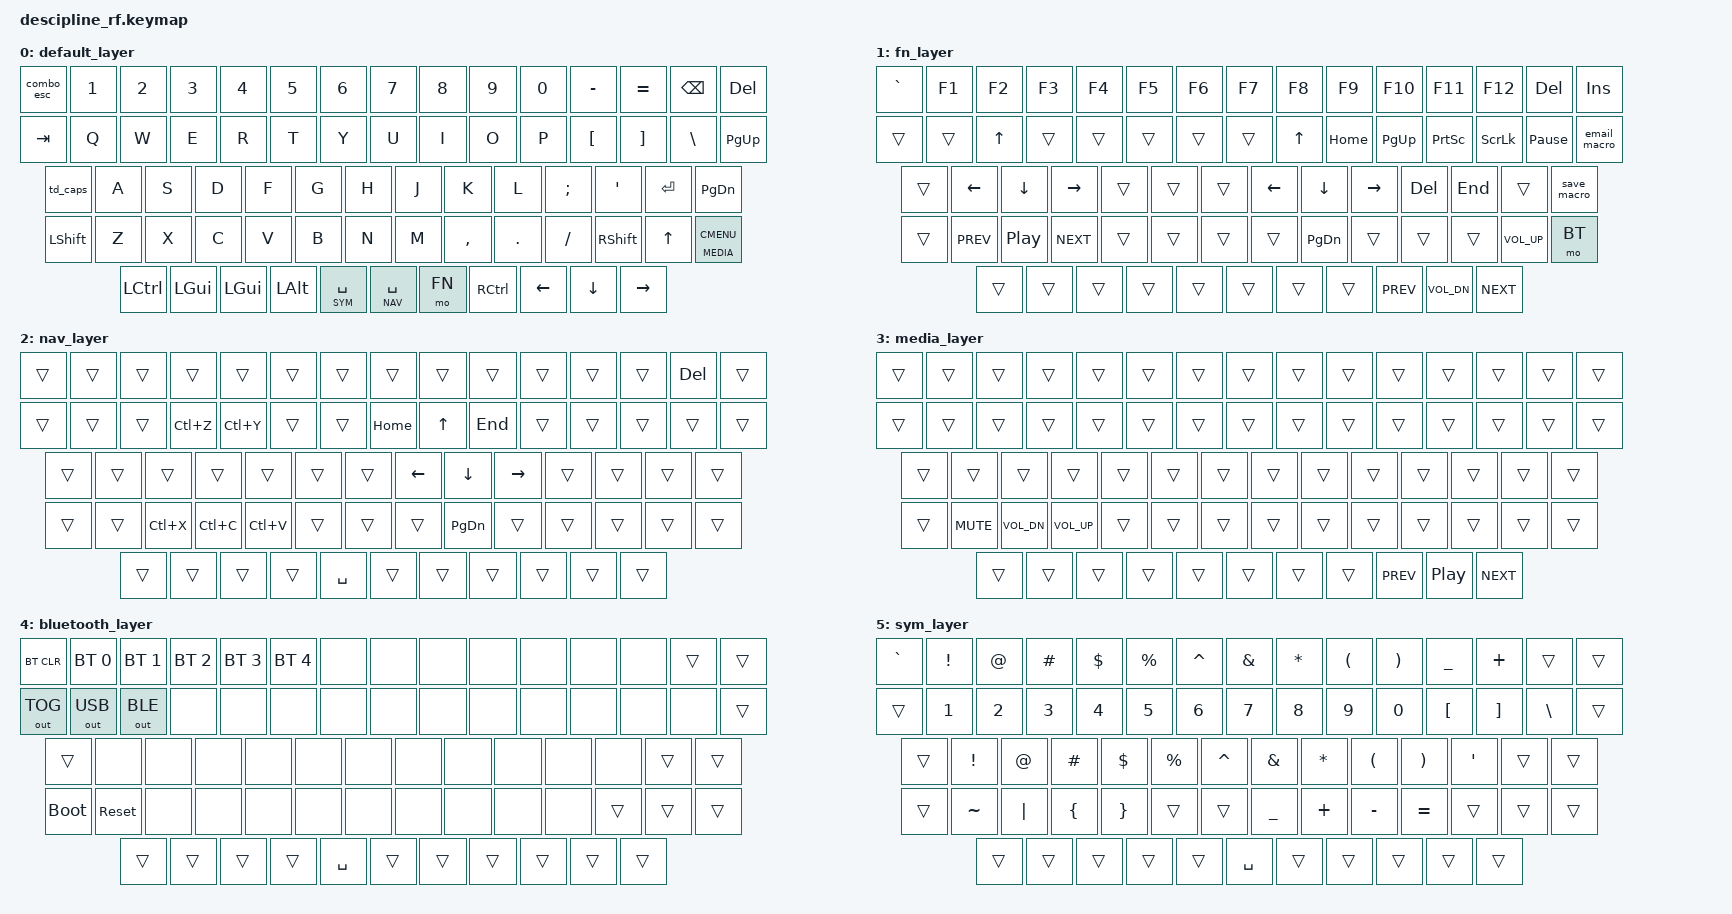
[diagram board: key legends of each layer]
/*
 * Copyright (c) 2021 The ZMK Contributors
 *
 * SPDX-License-Identifier: MIT
 */
#include <behaviors.dtsi>
#include <dt-bindings/zmk/keys.h>
#include <dt-bindings/zmk/bt.h>
#include <dt-bindings/zmk/outputs.h>

// Layer definitions
#define DEFAULT 0
#define FN      1
#define NAV     2
#define MEDIA   3
#define BT      4
#define SYM     5

/ {
    behaviors {
        // Layer-tap for thumb keys with space
        lt_spc: layer_tap_space {
            compatible = "zmk,behavior-hold-tap";
            label = "LAYER_TAP_SPACE";
            #binding-cells = <2>;
            tapping-term-ms = <175>;
            quick-tap-ms = <125>;
            flavor = "balanced";
            bindings = <&mo>, <&kp>;
        };

        // Legacy behavior for compatibility
        lt_mod: layer_tap_with_modifier {
            compatible = "zmk,behavior-hold-tap";
            label = "LAYER_TAP_MOD";
            #binding-cells = <2>;
            tapping-term-ms = <200>;
            quick-tap-ms = <125>;
            flavor = "hold-preferred";
            bindings = <&mo>, <&kp>;
        };

        skq: sticky_key_quick_release {
            compatible = "zmk,behavior-sticky-key";
            #binding-cells = <1>;
            bindings = <&kp>;
            release-after-ms = <1000>;
            quick-release;
            ignore-modifiers;
        };

        td_caps: tap_dance_caps {
            compatible = "zmk,behavior-tap-dance";
            label = "TAP_DANCE_CAPS";
            #binding-cells = <0>;
            tapping-term-ms = <200>;
            bindings = <&mo FN>, <&kp CAPS>;
        };

        combo_esc: combo_escape {
            compatible = "zmk,behavior-mod-morph";
            label = "COMBO_ESCAPE";
            #binding-cells = <0>;
            bindings = <&kp ESC>, <&kp GRAVE>;
            mods = <(MOD_LALT)>;
        };
    };

    macros {
        email_macro: email_macro {
            label = "EMAIL_MACRO";
            compatible = "zmk,behavior-macro";
            #binding-cells = <0>;
            bindings = <&macro_tap &kp E &kp X &kp A &kp M &kp P &kp L &kp E &kp AT &kp G &kp M &kp A &kp I &kp L &kp DOT &kp C &kp O &kp M>;
        };

        save_macro: save_macro {
            label = "SAVE_MACRO";
            compatible = "zmk,behavior-macro";
            #binding-cells = <0>;
            bindings = <&macro_press &kp LCTRL &macro_tap &kp S &macro_release &kp LCTRL>;
        };
    };

    keymap {
        compatible = "zmk,keymap";

        default_layer {
            // ------------------------------------------------------------------------------------------
            // | ESC |  1  |  2  |  3  |  4  |  5  |  6  |  7  |  8  |  9  |  0  |  -  |  =  | BKSP | DEL  |
            // | TAB  |  Q  |  W  |  E  |  R  |  T  |  Y  |  U  |  I  |  O  |  P  |  [  |  ]  |  \  | PGUP |
            // | CAPS |  A  |  S  |  D  |  F  |  G  |  H  |  J  |  K  |  L  |  ;  |  '  | ENTER |    | PGDN |
            // | LSHIFT |     |  Z  |  X  |  C  |  V  |  B  |  N  |  M  |  ,  |  .  |  /  | RSHIFT| UP | MOD |
            // | LCTRL | LGUI | LALT |     |   SYM/SPACE   |    NAV/SPACE    |     | RALT | FN | RCTRL | LEFT | DOWN | RIGHT |
            bindings = <
                &combo_esc    &kp N1 &kp N2 &kp N3 &kp N4 &kp N5 &kp N6 &kp N7 &kp N8 &kp N9 &kp N0 &kp MINUS &kp EQUAL    &kp BSPC   &kp DEL
                &kp TAB    &kp Q  &kp W  &kp E  &kp R  &kp T  &kp Y  &kp U  &kp I  &kp O  &kp P  &kp LBKT  &kp RBKT     &kp BSLH   &kp PG_UP
                &td_caps   &kp A  &kp S  &kp D  &kp F  &kp G  &kp H  &kp J  &kp K  &kp L  &kp SEMI &kp SQT    &kp RETURN  &kp PG_DN
                &kp LSHFT  &kp Z  &kp X  &kp C  &kp V  &kp B  &kp N  &kp M  &kp COMMA &kp DOT &kp FSLH &kp RSHFT &kp UP     &lt_mod MEDIA K_CMENU
                &kp LCTRL  &kp LGUI &kp LGUI  &kp LALT      &lt_spc SYM SPACE        &lt_spc NAV SPACE &mo FN &kp RCTRL &kp LEFT  &kp DOWN   &kp RIGHT

            >;
        };

        fn_layer {
            // Enhanced Function layer with comprehensive utility organization
            // Left side: Clean F-key focus with transparent positions for unobstructed access
            // Right side: Logical clustering of all utilities for improved workflow efficiency
            //
            // Utility Grouping Strategy:
            // - Arrow Diamond: IJKL pattern - I(UP), J(LEFT), K(DOWN), L(RIGHT) in intuitive formation
            // - Navigation Cluster: HOME, DELETE, PAGE UP/DOWN, INSERT for document navigation
            // - System Cluster: PRINT SCREEN, SCROLL LOCK, PAUSE for system functions
            // - Productivity Cluster: EMAIL, SAVE macros for workflow optimization
            // - Media Controls: Previous/Play-Pause/Next positioned on left for media management
            bindings = <
                &kp GRAVE  &kp F1 &kp F2 &kp F3 &kp F4 &kp F5 &kp F6 &kp F7 &kp F8 &kp F9 &kp F10 &kp F11 &kp F12 &kp DEL &kp INS
                &trans     &trans &kp UP &trans &trans &trans &trans &trans &kp UP &kp HOME &kp PG_UP  &kp PSCRN  &kp SLCK  &kp PAUSE_BREAK &email_macro
                &trans     &kp LEFT &kp DOWN &kp RIGHT &trans &trans &trans &kp LEFT &kp DOWN &kp RIGHT &kp DEL  &kp END  &trans          &save_macro
                &trans     &kp C_PREV &kp C_PP &kp C_NEXT &trans &trans &trans &trans &kp PG_DN &trans  &trans  &trans  &kp C_VOL_UP &mo BT
                &trans     &trans &trans &trans                &trans                &trans &trans &trans  &kp C_PREV &kp C_VOL_DN &kp C_NEXT
            >;
        };

        nav_layer {
            // Navigation layer - optimized with IJKL arrow keys and logical grouping
            // Arrow keys in IJKL positions, page up/down, home/end, cut/copy/paste
            bindings = <
                &trans  &trans &trans &trans &trans &trans &trans &trans &trans &trans &trans &trans &trans &kp DEL &trans
                &trans     &trans &trans &kp LC(Z) &kp LC(Y) &trans &trans &kp HOME &kp UP &kp END &trans  &trans  &trans  &trans &trans
                &trans     &trans &trans &trans &trans &trans &trans &kp LEFT &kp DOWN &kp RIGHT &trans  &trans  &trans          &trans
                &trans     &trans &kp LC(X) &kp LC(C) &kp LC(V) &trans &trans &trans &kp PG_DN &trans  &trans  &trans  &trans &trans
                &trans     &trans &trans &trans                &kp SPACE                &trans &trans &trans  &trans &trans &trans
            >;
        };

        media_layer {
            // Media and system controls
            bindings = <
                &trans  &trans &trans &trans &trans &trans &trans &trans &trans &trans &trans &trans &trans &trans &trans
                &trans     &trans &trans &trans &trans &trans &trans &trans &trans &trans &trans &trans  &trans  &trans &trans
                &trans     &trans &trans &trans &trans &trans &trans &trans &trans &trans &trans  &trans  &trans          &trans
                &trans     &kp C_MUTE &kp C_VOL_DN &kp C_VOL_UP &trans &trans &trans &trans &trans &trans  &trans  &trans  &trans &trans
                &trans     &trans &trans &trans                &trans                &trans &trans &trans  &kp C_PREV &kp C_PP &kp C_NEXT
            >;
        };

        bluetooth_layer {
            // Bluetooth layer for device switching and reset
            bindings = <
                &bt BT_CLR &bt BT_SEL 0 &bt BT_SEL 1 &bt BT_SEL 2 &bt BT_SEL 3 &bt BT_SEL 4 &none &none &none &none &none &none &none &trans &trans
                &out OUT_TOG &out OUT_USB &out OUT_BLE &none &none &none &none &none &none &none &none &none &none &none &trans
                &trans     &none &none &none &none &none &none &none &none &none &none &none &trans &trans
                &bootloader &sys_reset &none &none &none &none &none &none &none &none &none &trans &trans &trans
                &trans     &trans &trans &trans                &kp SPACE                &trans &trans &trans &trans &trans &trans
            >;
        };

        sym_layer {
            // Symbol layer - numbers on home row (QWERTY positions), logical symbol grouping
            // Numbers 1-0 on QWERTYUIOP row for easy access
            bindings = <
                &kp GRAVE  &kp EXCL &kp AT &kp HASH &kp DLLR &kp PRCNT &kp CARET &kp AMPS &kp STAR &kp LPAR &kp RPAR &kp UNDER &kp PLUS &trans &trans
                &trans     &kp N1 &kp N2 &kp N3 &kp N4 &kp N5 &kp N6 &kp N7 &kp N8 &kp N9 &kp N0  &kp LBKT  &kp RBKT  &kp BSLH &trans
                &trans     &kp EXCL &kp AT &kp HASH &kp DLLR &kp PRCNT &kp CARET &kp AMPS &kp STAR &kp LPAR &kp RPAR  &kp SQT  &trans          &trans
                &trans     &kp TILDE &kp PIPE &kp LBRC &kp RBRC &trans &trans &kp UNDER &kp PLUS &kp MINUS &kp EQUAL  &trans  &trans &trans
                &trans     &trans &trans &trans                &trans                &kp SPACE &trans &trans  &trans &trans &trans
            >;
        };
    };
};
